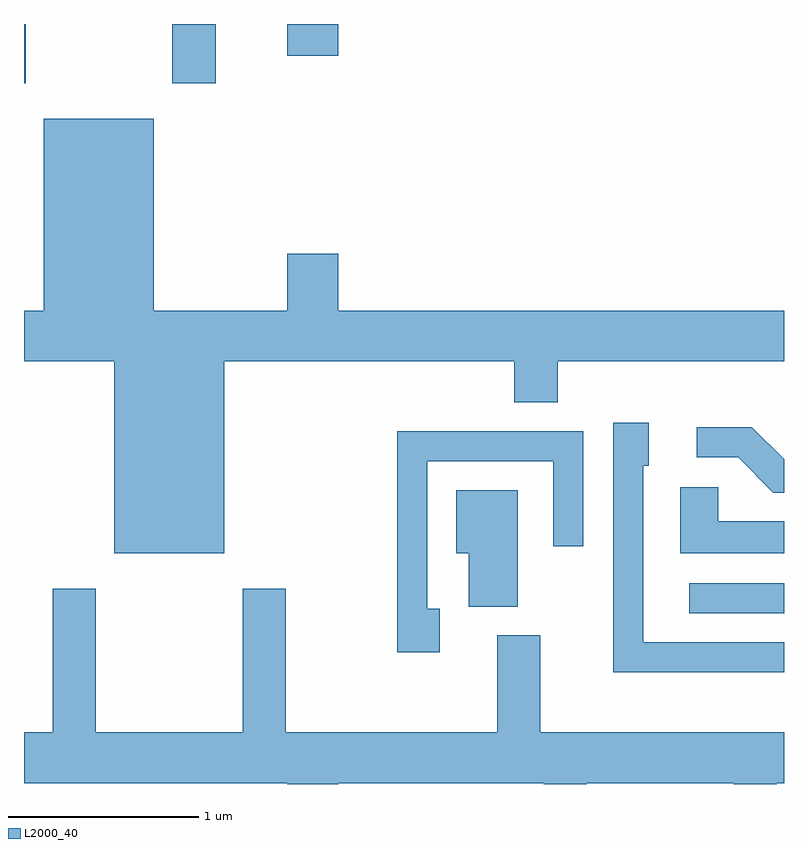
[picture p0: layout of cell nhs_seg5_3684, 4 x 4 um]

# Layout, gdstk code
import gdstk
lib = gdstk.Library(unit=1e-6, precision=1e-09)
def R(c, l, rs):  # rectangles x0, y0, x1, y1
    for r in rs: c.add(gdstk.rectangle(r[:2], r[2:], *l))
def P(c, l, *ps):  # polygons
    for p in ps: c.add(gdstk.Polygon(p, *l))
L2000_40 = (2000, 40)

nhs_seg5_3684 = lib.new_cell('nhs_seg5_3684')
R(nhs_seg5_3684, L2000_40, [(297.113,1510.971,297.611,1511.129), (293.611,1513.761,293.619,1514.072), (294.391,1513.761,294.619,1514.072), (294.996,1513.906,295.264,1514.072)])
P(nhs_seg5_3684, L2000_40, [(294.664,1512.296),(296.191,1512.296),(296.191,1512.081),(296.419,1512.081),(296.419,1512.296),(297.611,1512.296),(297.611,1512.564),(295.264,1512.564),(295.264,1512.864),(294.996,1512.864),(294.996,1512.564),(294.294,1512.564),(294.294,1513.574),(293.716,1513.574),(293.716,1512.564),(293.611,1512.564),(293.611,1512.296),(294.086,1512.296),(294.086,1511.286),(294.664,1511.286)],
  [(297.611,1510.819),(296.869,1510.819),(296.869,1511.746),(296.899,1511.746),(296.899,1511.974),(296.711,1511.974),(296.711,1510.661),(297.611,1510.661)],
  [(297.611,1511.78),(297.442,1511.949),(297.153,1511.949),(297.153,1511.791),(297.369,1511.791),(297.554,1511.606),(297.611,1511.606)],
  [(295.799,1510.994),(295.734,1510.994),(295.734,1511.771),(296.396,1511.771),(296.396,1511.323),(296.554,1511.323),(296.554,1511.929),(295.576,1511.929),(295.576,1510.766),(295.799,1510.766)],
  [(297.611,1511.454),(297.264,1511.454),(297.264,1511.634),(297.066,1511.634),(297.066,1511.286),(297.611,1511.286)],
  [(296.209,1511.619),(295.886,1511.619),(295.886,1511.286),(295.951,1511.286),(295.951,1511.006),(296.209,1511.006)],
  [(295.264,1510.076),(296.346,1510.076),(296.346,1510.072),(296.574,1510.072),(296.574,1510.076),(297.346,1510.076),(297.346,1510.072),(297.574,1510.072),(297.574,1510.076),(297.611,1510.076),(297.611,1510.344),(296.329,1510.344),(296.329,1510.854),(296.101,1510.854),(296.101,1510.344),(294.989,1510.344),(294.989,1511.099),(294.761,1511.099),(294.761,1510.344),(293.989,1510.344),(293.989,1511.099),(293.761,1511.099),(293.761,1510.344),(293.611,1510.344),(293.611,1510.076),(294.996,1510.076),(294.996,1510.072),(295.264,1510.072)])

lib.write_gds('nhs_seg5_3684.gds')
